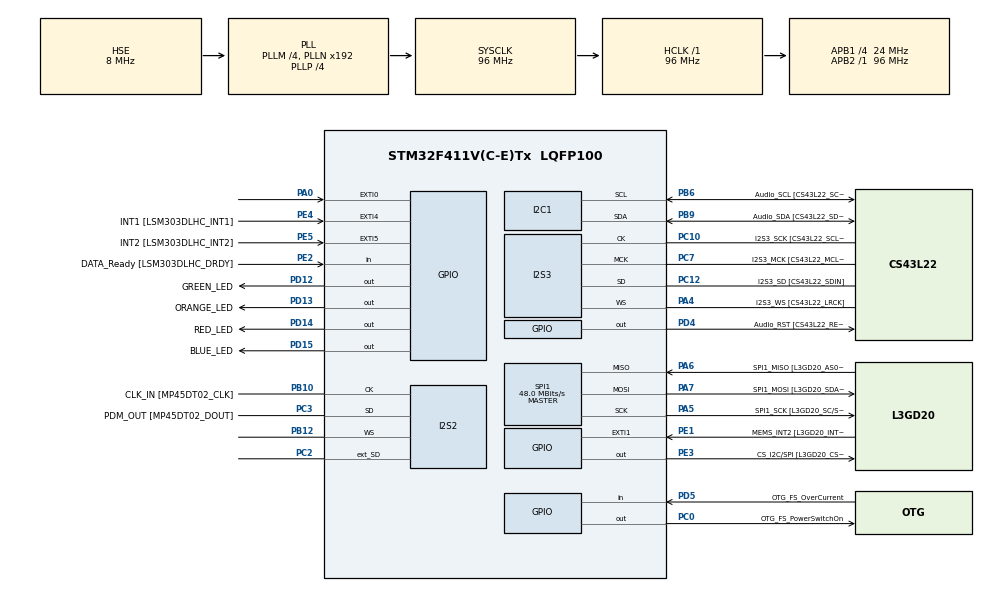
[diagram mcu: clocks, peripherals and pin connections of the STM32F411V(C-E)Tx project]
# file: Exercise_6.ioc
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FREERTOS.Tasks01=GREEN_LED,0,128,Start_GREEN_LED,Default,NULL,Dynamic,NULL,NULL;RED_LED,1,128,Start_RED_LED,Default,NULL,Dynamic,NULL,NULL
I2S2.AudioFreq=I2S_AUDIOFREQ_96K
I2S2.ErrorAudioFreq=0.15 %
I2S2.FullDuplexMode=I2S_FULLDUPLEXMODE_ENABLE
I2S2.Instance=SPI$Index
I2S2.RealAudioFreq=96.153 KHz
I2S2.VirtualMode=I2S_MODE_MASTER
I2S3.AudioFreq=I2S_AUDIOFREQ_96K
I2S3.ErrorAudioFreq=-6.99 %
I2S3.FullDuplexMode=I2S_FULLDUPLEXMODE_DISABLE
I2S3.Instance=SPI$Index
I2S3.RealAudioFreq=89.285 KHz
I2S3.VirtualMode=I2S_MODE_MASTER
Mcu.Family=STM32F4
Mcu.Name=STM32F411V(C-E)Tx
Mcu.Package=LQFP100
NVIC.PriorityGroup=NVIC_PRIORITYGROUP_4
NVIC.TIM1_UP_TIM10_IRQn=true\:0\:0\:false\:false\:true\:false\:false\:true
NVIC.TimeBase=TIM1_UP_TIM10_IRQn
NVIC.TimeBaseIP=TIM1
PA0-WKUP.GPIO_ModeDefaultEXTI=GPIO_MODE_EVT_RISING
PA0-WKUP.Signal=GPXTI0
PA10.GPIO_Label=OTG_FS_ID
PA10.Signal=USB_OTG_FS_ID
PA11.GPIO_Label=OTG_FS_DM
PA11.Signal=USB_OTG_FS_DM
PA12.GPIO_Label=OTG_FS_DP
PA12.Signal=USB_OTG_FS_DP
PA13.GPIO_Label=SWDIO
PA13.Mode=Serial_Wire
PA13.Signal=SYS_JTMS-SWDIO
PA14.GPIO_Label=SWCLK
PA14.Mode=Serial_Wire
PA14.Signal=SYS_JTCK-SWCLK
PA4.GPIO_Label=I2S3_WS [CS43L22_LRCK]
PA4.GPIO_Mode=GPIO_MODE_AF_PP
PA4.GPIO_PuPd=GPIO_NOPULL
PA4.GPIO_Speed=GPIO_SPEED_FREQ_LOW
PA4.Mode=Half_Duplex_Master
PA4.Signal=I2S3_WS
PA5.GPIO_Label=SPI1_SCK [L3GD20_SC/SPC]
PA5.Mode=Full_Duplex_Master
PA5.Signal=SPI1_SCK
PA6.GPIO_Label=SPI1_MISO [L3GD20_AS0/SDO]
PA6.Mode=Full_Duplex_Master
PA6.Signal=SPI1_MISO
PA7.GPIO_Label=SPI1_MOSI [L3GD20_SDA/SDI/SDO]
PA7.Mode=Full_Duplex_Master
PA7.Signal=SPI1_MOSI
PA9.GPIO_Label=VBUS_FS
PA9.Signal=USB_OTG_FS_VBUS
PB10.GPIO_Label=CLK_IN [MP45DT02_CLK]
PB10.Mode=Full_Duplex_Master
PB10.Signal=I2S2_CK
PB12.Mode=Full_Duplex_Master
PB12.Signal=I2S2_WS
PB3.GPIO_Label=SWO
PB3.Signal=SYS_JTDO-SWO
PB6.GPIO_Label=Audio_SCL [CS43L22_SCL]
PB6.GPIO_Mode=GPIO_MODE_AF_OD
PB6.GPIO_PuPd=GPIO_NOPULL
PB6.GPIO_Speed=GPIO_SPEED_FREQ_LOW
PB6.Mode=I2C
PB6.Signal=I2C1_SCL
PB9.GPIO_Label=Audio_SDA [CS43L22_SDA]
PB9.GPIO_Mode=GPIO_MODE_AF_OD
PB9.GPIO_PuPd=GPIO_NOPULL
PB9.GPIO_Speed=GPIO_SPEED_FREQ_LOW
PB9.Mode=I2C
PB9.Signal=I2C1_SDA
PC0.GPIO_Label=OTG_FS_PowerSwitchOn
PC0.PinState=GPIO_PIN_SET
PC0.Signal=GPIO_Output
PC10.GPIO_Label=I2S3_SCK [CS43L22_SCLK]
PC10.GPIO_Mode=GPIO_MODE_AF_PP
PC10.GPIO_PuPd=GPIO_NOPULL
PC10.GPIO_Speed=GPIO_SPEED_FREQ_LOW
PC10.Mode=Half_Duplex_Master
PC10.Signal=I2S3_CK
PC12.GPIO_Label=I2S3_SD [CS43L22_SDIN]
PC12.GPIO_Mode=GPIO_MODE_AF_PP
PC12.GPIO_PuPd=GPIO_NOPULL
PC12.GPIO_Speed=GPIO_SPEED_FREQ_LOW
PC12.Mode=Half_Duplex_Master
PC12.Signal=I2S3_SD
PC14-OSC32_IN.GPIO_Label=PC14-OSC32_IN
PC14-OSC32_IN.Mode=LSE-External-Oscillator
PC14-OSC32_IN.Signal=RCC_OSC32_IN
PC15-OSC32_OUT.GPIO_Label=PC15-OSC32_OUT
PC15-OSC32_OUT.Mode=LSE-External-Oscillator
PC15-OSC32_OUT.Signal=RCC_OSC32_OUT
PC2.Mode=Full_Duplex_Master
PC2.Signal=I2S2_ext_SD
PC3.GPIO_Label=PDM_OUT [MP45DT02_DOUT]
PC3.Mode=Full_Duplex_Master
PC3.Signal=I2S2_SD
PC7.GPIO_Label=I2S3_MCK [CS43L22_MCLK]
PC7.GPIO_Mode=GPIO_MODE_AF_PP
PC7.GPIO_PuPd=GPIO_NOPULL
PC7.GPIO_Speed=GPIO_SPEED_FREQ_LOW
PC7.Mode=Master_Clock_Activated
PC7.Signal=I2S3_MCK
PD12.GPIO_Label=GREEN_LED
PD12.GPIO_PuPd=GPIO_NOPULL
PD12.GPIO_Speed=GPIO_SPEED_FREQ_LOW
PD12.Signal=GPIO_Output
PD13.GPIO_Label=ORANGE_LED
PD13.GPIO_PuPd=GPIO_NOPULL
PD13.GPIO_Speed=GPIO_SPEED_FREQ_LOW
PD13.Signal=GPIO_Output
PD14.GPIO_Label=RED_LED
PD14.GPIO_PuPd=GPIO_NOPULL
PD14.GPIO_Speed=GPIO_SPEED_FREQ_LOW
PD14.Signal=GPIO_Output
PD15.GPIO_Label=BLUE_LED
PD15.GPIO_PuPd=GPIO_NOPULL
PD15.GPIO_Speed=GPIO_SPEED_FREQ_LOW
PD15.Signal=GPIO_Output
PD4.GPIO_Label=Audio_RST [CS43L22_RESET]
PD4.Signal=GPIO_Output
PD5.GPIO_Label=OTG_FS_OverCurrent
PD5.Signal=GPIO_Input
PE1.GPIO_Label=MEMS_INT2 [L3GD20_INT2]
PE1.GPIO_ModeDefaultEXTI=GPIO_MODE_EVT_RISING
PE1.Signal=GPXTI1
PE2.GPIO_Label=DATA_Ready [LSM303DLHC_DRDY]
PE2.Signal=GPIO_Input
PE3.GPIO_Label=CS_I2C/SPI [L3GD20_CS_I2C/SPI]
PE3.Signal=GPIO_Output
PE4.GPIO_Label=INT1 [LSM303DLHC_INT1]
PE4.GPIO_ModeDefaultEXTI=GPIO_MODE_EVT_RISING
PE4.Signal=GPXTI4
PE5.GPIO_Label=INT2 [LSM303DLHC_INT2]
PE5.GPIO_ModeDefaultEXTI=GPIO_MODE_EVT_RISING
PE5.Signal=GPXTI5
PH0\ -\ OSC_IN.GPIO_Label=PH0-OSC_IN
PH0\ -\ OSC_IN.Mode=HSE-External-Oscillator
PH0\ -\ OSC_IN.Signal=RCC_OSC_IN
PH1\ -\ OSC_OUT.GPIO_Label=PH1-OSC_OUT
PH1\ -\ OSC_OUT.Mode=HSE-External-Oscillator
PH1\ -\ OSC_OUT.Signal=RCC_OSC_OUT
ProjectManager.HeapSize=0x200
ProjectManager.StackSize=0x400
ProjectManager.TargetToolchain=STM32CubeIDE
RCC.48MHZClocksFreq_Value=48000000
RCC.AHBFreq_Value=96000000
RCC.APB1CLKDivider=RCC_HCLK_DIV4
RCC.APB1Freq_Value=24000000
RCC.APB1TimFreq_Value=48000000
RCC.APB2Freq_Value=96000000
RCC.APB2TimFreq_Value=96000000
RCC.CortexFreq_Value=96000000
RCC.HCLKFreq_Value=96000000
RCC.HSE_VALUE=8000000
RCC.HSI_VALUE=16000000
RCC.PLLI2SM=5
RCC.PLLI2SN=200
RCC.PLLM=4
RCC.PLLP=RCC_PLLP_DIV4
RCC.PLLQ=8
RCC.PLLSourceVirtual=RCC_PLLSOURCE_HSE
RCC.SYSCLKFreq_VALUE=96000000
RCC.SYSCLKSource=RCC_SYSCLKSOURCE_PLLCLK
RCC.VCOOutputFreq_Value=384000000
SPI1.BaudRatePrescaler=SPI_BAUDRATEPRESCALER_2
SPI1.CalculateBaudRate=48.0 MBits/s
SPI1.Direction=SPI_DIRECTION_2LINES
SPI1.Mode=SPI_MODE_MASTER
SPI1.VirtualType=VM_MASTER
VP_FREERTOS_VS_CMSIS_V1.Mode=CMSIS_V1
VP_SYS_VS_tim1.Mode=TIM1
board=STM32F411E-DISCO

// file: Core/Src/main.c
/* USER CODE BEGIN Header */
/**
  ******************************************************************************
  * @file           : main.c
  * @brief          : Main program body
  ******************************************************************************
  * @attention
  *
  * <h2><center>&copy; Copyright (c) 2024 STMicroelectronics.
  * All rights reserved.</center></h2>
  *
  * This software component is licensed by ST under Ultimate Liberty license
  * SLA0044, the "License"; You may not use this file except in compliance with
  * the License. You may obtain a copy of the License at:
  *                             www.st.com/SLA0044
  *
  ******************************************************************************
  */
/* USER CODE END Header */

#include "main.h"
#include "cmsis_os.h"

/* USER CODE BEGIN PD */
int Start_Flag = 1;
/* USER CODE END PD */

I2C_HandleTypeDef hi2c1;

I2S_HandleTypeDef hi2s2;
I2S_HandleTypeDef hi2s3;

SPI_HandleTypeDef hspi1;

osThreadId GREEN_LEDHandle;
osThreadId RED_LEDHandle;

void SystemClock_Config(void);
static void MX_GPIO_Init(void);
static void MX_I2C1_Init(void);
static void MX_I2S2_Init(void);
static void MX_I2S3_Init(void);
static void MX_SPI1_Init(void);
void Start_GREEN_LED(void const * argument);
void Start_RED_LED(void const * argument);

/* USER CODE BEGIN 0 */
void accessFunction()
{
  if(Start_Flag == 1)
  {
	Start_Flag = 0;
  }
  else
  {
    HAL_GPIO_TogglePin(BLUE_LED_GPIO_Port, BLUE_LED_Pin);
//    HAL_GPIO_WritePin(GPIOD, BLUE_LED, GPIO_PIN_SET);
  }

  for(int i = 0; i < 2000000; i++);
  Start_Flag = 1;
  return;
}
/* USER CODE END 0 */

int main(void)
{

  /* MCU Configuration--------------------------------------------------------*/

  /* Reset of all peripherals, Initializes the Flash interface and the Systick. */
  HAL_Init();

  /* Configure the system clock */
  SystemClock_Config();

  /* Initialize all configured peripherals */
  MX_GPIO_Init();
  MX_I2C1_Init();
  MX_I2S2_Init();
  MX_I2S3_Init();
  MX_SPI1_Init();

  /* Create the thread(s) */
  /* definition and creation of GREEN_LED */
  osThreadDef(GREEN_LED, Start_GREEN_LED, osPriorityNormal, 0, 128);
  GREEN_LEDHandle = osThreadCreate(osThread(GREEN_LED), NULL);

  /* definition and creation of RED_LED */
  osThreadDef(RED_LED, Start_RED_LED, osPriorityAboveNormal, 0, 128);
  RED_LEDHandle = osThreadCreate(osThread(RED_LED), NULL);

  /* Start scheduler */
  osKernelStart();

  /* We should never get here as control is now taken by the scheduler */

  /* Infinite loop */
  while (1)
  {

  }
}

void SystemClock_Config(void)
{
  RCC_OscInitTypeDef RCC_OscInitStruct = {0};
  RCC_ClkInitTypeDef RCC_ClkInitStruct = {0};
  RCC_PeriphCLKInitTypeDef PeriphClkInitStruct = {0};

  /** Configure the main internal regulator output voltage
  */
  __HAL_RCC_PWR_CLK_ENABLE();
  __HAL_PWR_VOLTAGESCALING_CONFIG(PWR_REGULATOR_VOLTAGE_SCALE1);
  /** Initializes the CPU, AHB and APB busses clocks
  */
  RCC_OscInitStruct.OscillatorType = RCC_OSCILLATORTYPE_HSE;
  RCC_OscInitStruct.HSEState = RCC_HSE_ON;
  RCC_OscInitStruct.PLL.PLLState = RCC_PLL_ON;
  RCC_OscInitStruct.PLL.PLLSource = RCC_PLLSOURCE_HSE;
  RCC_OscInitStruct.PLL.PLLM = 4;
  RCC_OscInitStruct.PLL.PLLN = 192;
  RCC_OscInitStruct.PLL.PLLP = RCC_PLLP_DIV4;
  RCC_OscInitStruct.PLL.PLLQ = 8;
  if (HAL_RCC_OscConfig(&RCC_OscInitStruct) != HAL_OK)
  {
    Error_Handler();
  }
  /** Initializes the CPU, AHB and APB busses clocks
  */
  RCC_ClkInitStruct.ClockType = RCC_CLOCKTYPE_HCLK|RCC_CLOCKTYPE_SYSCLK
                              |RCC_CLOCKTYPE_PCLK1|RCC_CLOCKTYPE_PCLK2;
  RCC_ClkInitStruct.SYSCLKSource = RCC_SYSCLKSOURCE_PLLCLK;
  RCC_ClkInitStruct.AHBCLKDivider = RCC_SYSCLK_DIV1;
  RCC_ClkInitStruct.APB1CLKDivider = RCC_HCLK_DIV4;
  RCC_ClkInitStruct.APB2CLKDivider = RCC_HCLK_DIV1;

  if (HAL_RCC_ClockConfig(&RCC_ClkInitStruct, FLASH_LATENCY_3) != HAL_OK)
  {
    Error_Handler();
  }
  PeriphClkInitStruct.PeriphClockSelection = RCC_PERIPHCLK_I2S;
  PeriphClkInitStruct.PLLI2S.PLLI2SN = 200;
  PeriphClkInitStruct.PLLI2S.PLLI2SM = 5;
  PeriphClkInitStruct.PLLI2S.PLLI2SR = 2;
  if (HAL_RCCEx_PeriphCLKConfig(&PeriphClkInitStruct) != HAL_OK)
  {
    Error_Handler();
  }
}

static void MX_I2C1_Init(void)
{

  hi2c1.Instance = I2C1;
  hi2c1.Init.ClockSpeed = 100000;
  hi2c1.Init.DutyCycle = I2C_DUTYCYCLE_2;
  hi2c1.Init.OwnAddress1 = 0;
  hi2c1.Init.AddressingMode = I2C_ADDRESSINGMODE_7BIT;
  hi2c1.Init.DualAddressMode = I2C_DUALADDRESS_DISABLE;
  hi2c1.Init.OwnAddress2 = 0;
  hi2c1.Init.GeneralCallMode = I2C_GENERALCALL_DISABLE;
  hi2c1.Init.NoStretchMode = I2C_NOSTRETCH_DISABLE;
  if (HAL_I2C_Init(&hi2c1) != HAL_OK)
  {
    Error_Handler();
  }

}

static void MX_I2S2_Init(void)
{

  hi2s2.Instance = SPI2;
  hi2s2.Init.Mode = I2S_MODE_MASTER_TX;
  hi2s2.Init.Standard = I2S_STANDARD_PHILIPS;
  hi2s2.Init.DataFormat = I2S_DATAFORMAT_16B;
  hi2s2.Init.MCLKOutput = I2S_MCLKOUTPUT_DISABLE;
  hi2s2.Init.AudioFreq = I2S_AUDIOFREQ_96K;
  hi2s2.Init.CPOL = I2S_CPOL_LOW;
  hi2s2.Init.ClockSource = I2S_CLOCK_PLL;
  hi2s2.Init.FullDuplexMode = I2S_FULLDUPLEXMODE_ENABLE;
  if (HAL_I2S_Init(&hi2s2) != HAL_OK)
  {
    Error_Handler();
  }

}

static void MX_I2S3_Init(void)
{

  hi2s3.Instance = SPI3;
  hi2s3.Init.Mode = I2S_MODE_MASTER_TX;
  hi2s3.Init.Standard = I2S_STANDARD_PHILIPS;
  hi2s3.Init.DataFormat = I2S_DATAFORMAT_16B;
  hi2s3.Init.MCLKOutput = I2S_MCLKOUTPUT_ENABLE;
  hi2s3.Init.AudioFreq = I2S_AUDIOFREQ_96K;
  hi2s3.Init.CPOL = I2S_CPOL_LOW;
  hi2s3.Init.ClockSource = I2S_CLOCK_PLL;
  hi2s3.Init.FullDuplexMode = I2S_FULLDUPLEXMODE_DISABLE;
  if (HAL_I2S_Init(&hi2s3) != HAL_OK)
  {
    Error_Handler();
  }

}

static void MX_SPI1_Init(void)
{

  /* SPI1 parameter configuration*/
  hspi1.Instance = SPI1;
  hspi1.Init.Mode = SPI_MODE_MASTER;
  hspi1.Init.Direction = SPI_DIRECTION_2LINES;
  hspi1.Init.DataSize = SPI_DATASIZE_8BIT;
  hspi1.Init.CLKPolarity = SPI_POLARITY_LOW;
  hspi1.Init.CLKPhase = SPI_PHASE_1EDGE;
  hspi1.Init.NSS = SPI_NSS_SOFT;
  hspi1.Init.BaudRatePrescaler = SPI_BAUDRATEPRESCALER_2;
  hspi1.Init.FirstBit = SPI_FIRSTBIT_MSB;
  hspi1.Init.TIMode = SPI_TIMODE_DISABLE;
  hspi1.Init.CRCCalculation = SPI_CRCCALCULATION_DISABLE;
  hspi1.Init.CRCPolynomial = 10;
  if (HAL_SPI_Init(&hspi1) != HAL_OK)
  {
    Error_Handler();
  }

}

static void MX_GPIO_Init(void)
{
  GPIO_InitTypeDef GPIO_InitStruct = {0};

  /* GPIO Ports Clock Enable */
  __HAL_RCC_GPIOE_CLK_ENABLE();
  __HAL_RCC_GPIOC_CLK_ENABLE();
  __HAL_RCC_GPIOH_CLK_ENABLE();
  __HAL_RCC_GPIOA_CLK_ENABLE();
  __HAL_RCC_GPIOB_CLK_ENABLE();
  __HAL_RCC_GPIOD_CLK_ENABLE();

  /*Configure GPIO pin Output Level */
  HAL_GPIO_WritePin(CS_I2C_SPI_GPIO_Port, CS_I2C_SPI_Pin, GPIO_PIN_RESET);

  /*Configure GPIO pin Output Level */
  HAL_GPIO_WritePin(OTG_FS_PowerSwitchOn_GPIO_Port, OTG_FS_PowerSwitchOn_Pin, GPIO_PIN_SET);

  /*Configure GPIO pin Output Level */
  HAL_GPIO_WritePin(GPIOD, GREEN_LED_Pin|ORANGE_LED_Pin|RED_LED_Pin|BLUE_LED_Pin
                          |Audio_RST_Pin, GPIO_PIN_RESET);

  /*Configure GPIO pin : DATA_Ready_Pin */
  GPIO_InitStruct.Pin = DATA_Ready_Pin;
  GPIO_InitStruct.Mode = GPIO_MODE_INPUT;
  GPIO_InitStruct.Pull = GPIO_NOPULL;
  HAL_GPIO_Init(DATA_Ready_GPIO_Port, &GPIO_InitStruct);

  /*Configure GPIO pin : CS_I2C_SPI_Pin */
  GPIO_InitStruct.Pin = CS_I2C_SPI_Pin;
  GPIO_InitStruct.Mode = GPIO_MODE_OUTPUT_PP;
  GPIO_InitStruct.Pull = GPIO_NOPULL;
  GPIO_InitStruct.Speed = GPIO_SPEED_FREQ_LOW;
  HAL_GPIO_Init(CS_I2C_SPI_GPIO_Port, &GPIO_InitStruct);

  /*Configure GPIO pins : INT1_Pin INT2_Pin MEMS_INT2_Pin */
  GPIO_InitStruct.Pin = INT1_Pin|INT2_Pin|MEMS_INT2_Pin;
  GPIO_InitStruct.Mode = GPIO_MODE_EVT_RISING;
  GPIO_InitStruct.Pull = GPIO_NOPULL;
  HAL_GPIO_Init(GPIOE, &GPIO_InitStruct);

  /*Configure GPIO pin : OTG_FS_PowerSwitchOn_Pin */
  GPIO_InitStruct.Pin = OTG_FS_PowerSwitchOn_Pin;
  GPIO_InitStruct.Mode = GPIO_MODE_OUTPUT_PP;
  GPIO_InitStruct.Pull = GPIO_NOPULL;
  GPIO_InitStruct.Speed = GPIO_SPEED_FREQ_LOW;
  HAL_GPIO_Init(OTG_FS_PowerSwitchOn_GPIO_Port, &GPIO_InitStruct);

  /*Configure GPIO pin : PA0 */
  GPIO_InitStruct.Pin = GPIO_PIN_0;
  GPIO_InitStruct.Mode = GPIO_MODE_EVT_RISING;
  GPIO_InitStruct.Pull = GPIO_NOPULL;
  HAL_GPIO_Init(GPIOA, &GPIO_InitStruct);

  /*Configure GPIO pins : GREEN_LED_Pin ORANGE_LED_Pin RED_LED_Pin BLUE_LED_Pin
                           Audio_RST_Pin */
  GPIO_InitStruct.Pin = GREEN_LED_Pin|ORANGE_LED_Pin|RED_LED_Pin|BLUE_LED_Pin
                          |Audio_RST_Pin;
  GPIO_InitStruct.Mode = GPIO_MODE_OUTPUT_PP;
  GPIO_InitStruct.Pull = GPIO_NOPULL;
  GPIO_InitStruct.Speed = GPIO_SPEED_FREQ_LOW;
  HAL_GPIO_Init(GPIOD, &GPIO_InitStruct);

  /*Configure GPIO pin : VBUS_FS_Pin */
  GPIO_InitStruct.Pin = VBUS_FS_Pin;
  GPIO_InitStruct.Mode = GPIO_MODE_INPUT;
  GPIO_InitStruct.Pull = GPIO_NOPULL;
  HAL_GPIO_Init(VBUS_FS_GPIO_Port, &GPIO_InitStruct);

  /*Configure GPIO pins : OTG_FS_ID_Pin OTG_FS_DM_Pin OTG_FS_DP_Pin */
  GPIO_InitStruct.Pin = OTG_FS_ID_Pin|OTG_FS_DM_Pin|OTG_FS_DP_Pin;
  GPIO_InitStruct.Mode = GPIO_MODE_AF_PP;
  GPIO_InitStruct.Pull = GPIO_NOPULL;
  GPIO_InitStruct.Speed = GPIO_SPEED_FREQ_VERY_HIGH;
  GPIO_InitStruct.Alternate = GPIO_AF10_OTG_FS;
  HAL_GPIO_Init(GPIOA, &GPIO_InitStruct);

  /*Configure GPIO pin : OTG_FS_OverCurrent_Pin */
  GPIO_InitStruct.Pin = OTG_FS_OverCurrent_Pin;
  GPIO_InitStruct.Mode = GPIO_MODE_INPUT;
  GPIO_InitStruct.Pull = GPIO_NOPULL;
  HAL_GPIO_Init(OTG_FS_OverCurrent_GPIO_Port, &GPIO_InitStruct);

}

void Start_GREEN_LED(void const * argument)
{
  /* USER CODE BEGIN 5 */
  /* Infinite loop */
  for(;;)
  {
    HAL_GPIO_TogglePin(GREEN_LED_GPIO_Port, GREEN_LED_Pin);
    taskENTER_CRITICAL();
    accessFunction();
    taskEXIT_CRITICAL();
    HAL_GPIO_TogglePin(GREEN_LED_GPIO_Port, GREEN_LED_Pin);
    osDelay(500);
  }
  /* USER CODE END 5 */
}

void Start_RED_LED(void const * argument)
{
  /* USER CODE BEGIN Start_RED_LED */
  /* Infinite loop */
  for(;;)
  {
    HAL_GPIO_TogglePin(RED_LED_GPIO_Port, RED_LED_Pin);
    taskENTER_CRITICAL();
    accessFunction();
    taskEXIT_CRITICAL();
	HAL_GPIO_TogglePin(RED_LED_GPIO_Port, RED_LED_Pin);
	osDelay(100);
  }
  /* USER CODE END Start_RED_LED */
}

void HAL_TIM_PeriodElapsedCallback(TIM_HandleTypeDef *htim)
{
  if (htim->Instance == TIM1) {
    HAL_IncTick();
  }
}

void Error_Handler(void)
{
}

/************************ (C) COPYRIGHT STMicroelectronics *****END OF FILE****/

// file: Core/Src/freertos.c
/* USER CODE BEGIN Header */
/**
  ******************************************************************************
  * File Name          : freertos.c
  * Description        : Code for freertos applications
  ******************************************************************************
  * @attention
  *
  * <h2><center>&copy; Copyright (c) 2024 STMicroelectronics.
  * All rights reserved.</center></h2>
  *
  * This software component is licensed by ST under Ultimate Liberty license
  * SLA0044, the "License"; You may not use this file except in compliance with
  * the License. You may obtain a copy of the License at:
  *                             www.st.com/SLA0044
  *
  ******************************************************************************
  */
/* USER CODE END Header */

#include "FreeRTOS.h"
#include "task.h"
#include "main.h"

/* GetIdleTaskMemory prototype (linked to static allocation support) */
void vApplicationGetIdleTaskMemory( StaticTask_t **ppxIdleTaskTCBBuffer, StackType_t **ppxIdleTaskStackBuffer, uint32_t *pulIdleTaskStackSize );

/* USER CODE BEGIN GET_IDLE_TASK_MEMORY */
static StaticTask_t xIdleTaskTCBBuffer;
static StackType_t xIdleStack[configMINIMAL_STACK_SIZE];

void vApplicationGetIdleTaskMemory( StaticTask_t **ppxIdleTaskTCBBuffer, StackType_t **ppxIdleTaskStackBuffer, uint32_t *pulIdleTaskStackSize )
{
  *ppxIdleTaskTCBBuffer = &xIdleTaskTCBBuffer;
  *ppxIdleTaskStackBuffer = &xIdleStack[0];
  *pulIdleTaskStackSize = configMINIMAL_STACK_SIZE;
  /* place for user code */
}
/* USER CODE END GET_IDLE_TASK_MEMORY */

/************************ (C) COPYRIGHT STMicroelectronics *****END OF FILE****/
